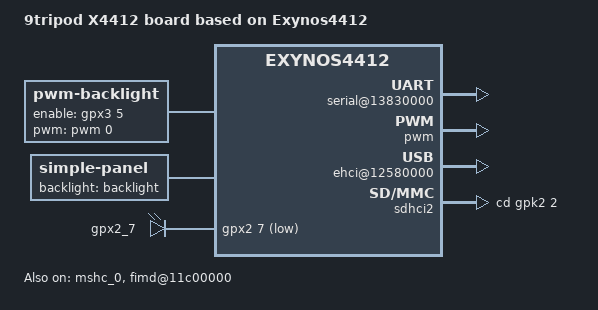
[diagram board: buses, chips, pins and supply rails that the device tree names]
// SPDX-License-Identifier: GPL-2.0+
/*
 * refer to exynos4210-origen.dts
 *
 * Samsung's Exynos4412 based X4412 board device tree source
 *
 * Copyright (c) 2018 Wang Xinlu <wangkartx@gmail.com>
 *
 */

/dts-v1/;
#include "exynos4412.dtsi"
#include <dt-bindings/gpio/gpio.h>

/ {
    model = "9tripod X4412 board based on Exynos4412";
    compatible = "9tripod,x4412", "samsung,exynos4412";

    chose {
        stdout-path = "/serial@13830000";
    };

    config {
        u-boot,mmc-env-offset = <0xAEE00>;
    };

    aliases {
        serial3 = "/serial@13830000";
        console = "/serial@13830000";
        mmc1 = "/dwmmc@12550000";
        mmc0 = "/sdhci@12530000";
        pinctrl-exynos0 = "/pinctrl-exynos@0";
    };

    serial@13800000 {
        status = "disabled";
    };

    serial@13810000 {
        status = "disabled";
    };

    serial@13820000 {
        status = "disabled";
    };

    serial@13830000 {
        status = "okay";
    };

    serial@13840000 {
        status = "disabled";
    };

    pwm: pwm@139d0000 {
        compatible = "samsung,exynos4210-pwm";
        reg = <0x139d0000 0x100>;
        #pwm-cells = <2>;
        status = "okay";
    };

    pinctrl-exynos@0 {
        compatible = "samsung,exynos4412-pinctrl";
        reg = <0x11400000 0x1000>;

        lcd_data: lcd {
            samsung,pins = "gpf0-0", "gpf0-1", "gpf0-2", "gpf0-3",
                           "gpf0-4", "gpf0-5", "gpf0-6", "gpf0-7",
                           "gpf1-0", "gpf1-1", "gpf1-2", "gpf1-3",
                           "gpf1-4", "gpf1-5", "gpf1-6", "gpf1-7",
                           "gpf2-0", "gpf2-1", "gpf2-2", "gpf2-3",
                           "gpf2-4", "gpf2-5", "gpf2-6", "gpf2-7",
                           "gpf3-0", "gpf3-1", "gpf3-2", "gpf3-3";
            samsung,pin-function = <2>;
            samsung,pin-pud = <0>;
            samsung,pin-drv = <3>;
        };
    };

    fimd@11c00000 {
        u-boot,dm-pre-reloc;
        compatible = "samsung,exynos-fimd";
        reg = <0x11c00000 0xa4>;
        pinctrl-names = "default";
        pinctrl-0 = <&lcd_data>;

        samsung,vl-freq = <60>;
        samsung,vl-col = <1024>;
        samsung,vl-row = <600>;

        samsung,vl-clkp = <0>;
        samsung,vl-hsp = <0>;
        samsung,vl-vsp = <0>;
        samsung,vl-dp = <0>;
        samsung,vl-bpix = <5>;

        samsung,vl-hspw = <20>;
        samsung,vl-hbpd = <140>;
        samsung,vl-hfpd = <160>;
        samsung,vl-vspw = <3>;
        samsung,vl-vbpd = <20>;
        samsung,vl-vfpd = <12>;

        samsung,winid = <0>;
        samsung,interface-mode = <1>;
        samsung,rgb-mode = <0>;

        status = "okay";
    };

    backlight: pwm-backlight {
        compatible = "pwm-backlight";
        enable-gpios = <&gpx3 5 0>;
        pwms = <&pwm 0 1000000>;
        brightness-levels = <0 100 500 1000 1500 2000 2500 2800>;
        default-brightness-level = <7>;
        status = "okay";
    };

    panel {
        compatible = "simple-panel";
        backlight = <&backlight>;
        status = "okay";
    };

    sromc {
        compatible = "samsung,exynos-sromc";
        bank = <3>;
        width = <2>;
        srom-timing = <0 0 12 1 6 1 1>;
    };

    ehci@12580000 {
        status = "okay";
        compatible = "samsung,exynos-ehci";
        reg = <0x12580000 0x100>;
        #address-cells = <1>;
        #size-cells = <1>;
        phy {
            compatible = "samsung,exynos-usb-phy";
            reg = <0x125B0000 0x100>;
        };
    };

    leds {
        compatible = "gpio-leds";

        led1 {
            label = "gpx2_7";
            gpios = <&gpx2 7 GPIO_ACTIVE_LOW>;
            default-state = "on";
        };
    };

};

&sdhci2 {
	samsung,bus-width = <4>;
	samsung,timing = <1 2 3>;
	cd-gpios = <&gpk2 2 0>;
	status = "okay";
};

&mshc_0 {
    samsung,bus-width = <8>;
    index = <4>;
    samsung,timing = <1 1 0>;
    status ="okay";
};
